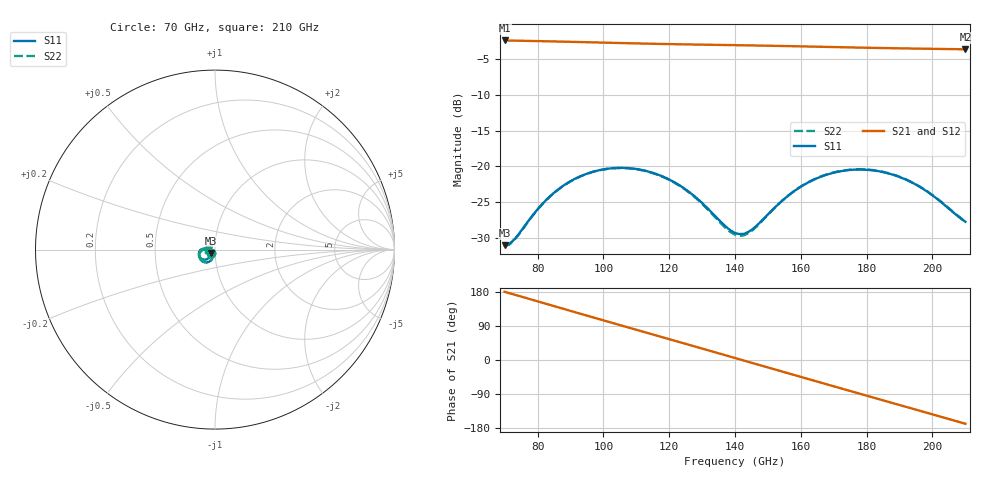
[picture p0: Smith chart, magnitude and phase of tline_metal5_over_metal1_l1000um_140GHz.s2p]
#  GHZ S DB R 50
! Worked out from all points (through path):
!   101 points, 70 GHz to 210 GHz, reference 50 ohm
!   highest |S21| = -2.38 dB at 70 GHz (marker M1); lowest = -3.6 dB at 210 GHz (marker M2)
!   group delay of S21, straight-line fit = 6.91 ps
!   lowest |S11| = -31.1 dB at 70 GHz (marker M3), VSWR 1.06, Z = 47.9 - j1.78 ohm
!   |S11| at or under -10 dB: start of sweep to end of sweep
!   |S22| runs from -31.2 to -20.2 dB; largest |S21 - S12| = 8.7e-14
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70  -31.06 -138.5  -2.38 180.0  -2.38 180.0  -31.16 -138.7
72.8  -30.29 -122.3  -2.40 172.9  -2.40 172.9  -30.39 -122.2
81.2  -25.38 -108.3  -2.48 151.8  -2.48 151.8  -25.42 -108.0
86.8  -23.04 -113.8  -2.54 137.7  -2.54 137.7  -23.07 -113.5
93.8  -21.23 -125.3  -2.61 120.2  -2.61 120.2  -21.25 -125.1
99.4  -20.47 -135.8  -2.68 106.2  -2.68 106.2  -20.49 -135.6
105  -20.20 -146.6  -2.74 92.2  -2.74 92.2  -20.23 -146.5
110.6  -20.41 -157.2  -2.80 78.3  -2.80 78.3  -20.44 -157.1
117.6  -21.33 -169.3  -2.87 60.9  -2.87 60.9  -21.37 -169.3
128.8  -24.61 178.3  -2.96 33.1  -2.96 33.1  -24.72 178.3
134.4  -27.15 -178.8  -3.00 19.2  -3.00 19.2  -27.33 -178.7
140  -29.31 -162.2  -3.04 5.3  -3.04 5.3  -29.55 -161.3
144.2  -29.14 -143.9  -3.07 -5.2  -3.07 -5.2  -29.31 -142.2
151.2  -26.16 -128.0  -3.13 -22.6  -3.13 -22.6  -26.19 -126.4
156.8  -23.86 -128.3  -3.18 -36.6  -3.18 -36.6  -23.85 -127.0
163.8  -21.89 -135.6  -3.24 -54.0  -3.24 -54.0  -21.86 -134.5
170.8  -20.79 -146.0  -3.31 -71.4  -3.31 -71.4  -20.76 -145.0
176.4  -20.46 -155.0  -3.37 -85.3  -3.37 -85.3  -20.42 -154.1
182  -20.56 -164.0  -3.42 -99.1  -3.42 -99.1  -20.52 -163.1
187.6  -21.11 -172.4  -3.46 -112.9  -3.46 -112.9  -21.07 -171.6
198.8  -23.66 175.8  -3.54 -140.5  -3.54 -140.5  -23.61 176.5
210  -27.74 -173.8  -3.62 -168.2  -3.62 -168.2  -27.68 -173.4
